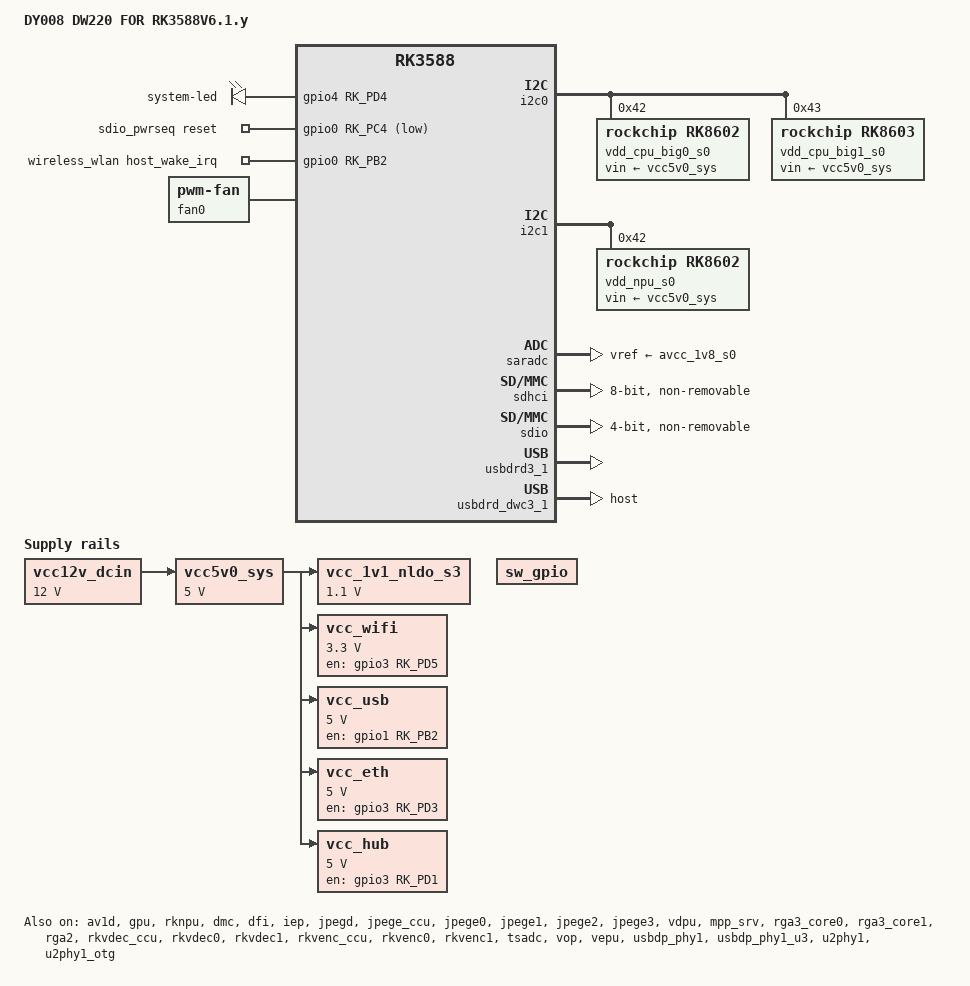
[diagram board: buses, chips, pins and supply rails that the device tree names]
// SPDX-License-Identifier: (GPL-2.0+ OR MIT)
/*
 * Copyright (c) 2021 Rockchip Electronics Co., Ltd.
 * Copyright (c) 2023 Thomas McKahan
 *
 */

/dts-v1/;

#include <dt-bindings/gpio/gpio.h>
#include <dt-bindings/leds/common.h>
#include <dt-bindings/pwm/pwm.h>
#include <dt-bindings/pinctrl/rockchip.h>
#include <dt-bindings/input/rk-input.h>
#include <dt-bindings/display/drm_mipi_dsi.h>
#include <dt-bindings/display/rockchip_vop.h>
#include <dt-bindings/sensor-dev.h>
#include <dt-bindings/usb/pd.h>
#include "rk3588.dtsi"
#include "rk3588s.dtsi"
#include "rk3588-rk806-single.dtsi"
#include "rk3588-android.dtsi"

/ {
	model = "DY008 DW220 FOR RK3588V6.1.y";
	compatible = "dy008,dw220", "rockchip,rk3588";

	aliases {
		mmc0 = &sdhci;
		mmc1 = &sdmmc;
	};

	leds {
		compatible = "gpio-leds";
		pinctrl-names = "default";

		sys_led: led-0 {
			// green led: gpios = <0xf9 0x1c 0x00>;
			gpios = <&gpio4 RK_PD4 GPIO_ACTIVE_HIGH>;
			label = "system-led";
			linux,default-trigger = "heartbeat";
			default-state = "on";
			pinctrl-0 = <&sys_led_pin>;
		};
	};

	vcc12v_dcin: vcc12v-dcin{
		compatible = "regulator-fixed";
		regulator-name = "vcc12v_dcin";
		regulator-always-on;
		regulator-boot-on;
		regulator-min-microvolt = <12000000>;
		regulator-max-microvolt = <12000000>;
	}; // ok

	/* vcc5v0_sys powers peripherals */
	vcc5v0_sys: vcc5v0-sys {
		compatible = "regulator-fixed";
		regulator-name = "vcc5v0_sys";
		regulator-always-on;
		regulator-boot-on;
		regulator-min-microvolt = <5000000>;
		regulator-max-microvolt = <5000000>;
		vin-supply = <&vcc12v_dcin>;
	}; // ok

	vcc_1v1_nldo_s3: vcc-1v1-nldo-s3 {
		compatible = "regulator-fixed";
		regulator-name = "vcc-1v1-nldo-s3";
		regulator-always-on;
		regulator-boot-on;
		regulator-min-microvolt = <1100000>;
		regulator-max-microvolt = <1100000>;
		vin-supply = <&vcc5v0_sys>;
	};	// ok

	sw_gpio: sw-gpio {
		compatible = "regulator-fixed";
		//pinctrl-names = "default";
		//pinctrl-0 = <&gpio_wol_en &gpio_pc_in_det &gpio_usb30_b_ocp_det &gpio_wifi_wake &gpio_6621_rst>;
		regulator-name = "vcc-phy";
		regulator-always-on;
	};//

    vcc_wifi: vcc-wifi {
		compatible = "regulator-fixed";
		regulator-name = "vcc_wifi";
		enable-active-high;
		regulator-always-on;
		regulator-boot-on;
		//gpios = <0x104 0x1d 0x00>;
        gpios = <&gpio3 RK_PD5 GPIO_ACTIVE_HIGH>;
		regulator-min-microvolt = <3300000>;
		regulator-max-microvolt = <3300000>;
		vin-supply = <&vcc5v0_sys>;
	};

    vcc_usb: vcc-usb {
		compatible = "regulator-fixed";
		regulator-name = "vcc_usb";
		enable-active-high;
		regulator-always-on;
		regulator-boot-on;
		//gpios = <0x1ab 0x0a 0x00>;
        gpios = <&gpio1 RK_PB2 GPIO_ACTIVE_HIGH>;
		regulator-min-microvolt = <5000000>;
		regulator-max-microvolt = <5000000>;
		pinctrl-names = "default";
		pinctrl-0 = <&vcc_usb_en>;
		vin-supply = <&vcc5v0_sys>;
	};

    vcc_eth: vcc-eth {
		compatible = "regulator-fixed";
		regulator-name = "vcc_eth";
		enable-active-high;
		regulator-always-on;
		regulator-boot-on;
		//gpios = <0x104 0x1b 0x00>;
        gpios = <&gpio3 RK_PD3 GPIO_ACTIVE_HIGH>;
		regulator-min-microvolt = <5000000>;
		regulator-max-microvolt = <5000000>;
		pinctrl-names = "default";
		pinctrl-0 = <&vcc_eth_en>;
		vin-supply = <&vcc5v0_sys>;
	};

	vcc_hub: vcc-hub {
		compatible = "regulator-fixed";
		regulator-name = "vcc_hub";
		enable-active-high;
		regulator-always-on;
		regulator-boot-on;
        gpios = <&gpio3 RK_PD1 GPIO_ACTIVE_HIGH>;
		regulator-min-microvolt = <5000000>;
		regulator-max-microvolt = <5000000>;
		vin-supply = <&vcc5v0_sys>;
	};

    sdio_pwrseq:sdio-pwrseq {
		compatible = "mmc-pwrseq-simple";
		pinctrl-names = "default";
		pinctrl-0 = <&wifi_en_gpio>;
		//reset-gpios = <0x148 0x14 0x01>;
        reset-gpios = <&gpio0 RK_PC4 GPIO_ACTIVE_LOW>;
	};

	wireless_bluetooth: wireless-bluetooth {
		compatible = "bluetooth-platdata";
		// uart_rts_gpios = <0xe5 0x14 0x01>;
		//uart_rts_gpios = <&gpio4 RK_PC4 GPIO_ACTIVE_LOW>;
		//pinctrl-names = "default", "rts_gpio";
		//pinctrl-0 = <&uart9m0_rtsn>, <&bt_reset_gpio>;
		//pinctrl-1 = <&uart9_gpios>;
		// BT,reset_gpio = <0x12f 0x08 0x01>;
		//BT,reset_gpio = <&gpio0 RK_PB0 GPIO_ACTIVE_LOW>;
		status = "disabled";
	};	// ok

	wireless_wlan: wireless-wlan {
		compatible = "wlan-platdata";
		wifi_chip_type = "ap6256p";
        pinctrl-names = "default";
		pinctrl-0 = <0x1c7>;
        //WIFI,host_wake_irq = <0x148 0x0a 0x00>;
        WIFI,host_wake_irq = <&gpio0 RK_PB2 GPIO_ACTIVE_HIGH>;
		status = "okay";
	};

	fan0: pwm-fan {
		compatible = "pwm-fan";
		#cooling-cells = <2>;
		cooling-levels = <72 94 117 139 162 184 207 229 255>;
		//pwms = <&pwm1 0 10000 0>;
	};
};

&av1d {
	status = "okay";
};

&av1d_mmu {
	status = "okay";
};

&cpu_l0 {
	cpu-supply = <&vdd_cpu_lit_s0>;
	mem-supply = <&vdd_cpu_lit_mem_s0>;
};

&cpu_b0 {
	cpu-supply = <&vdd_cpu_big0_s0>;
	mem-supply = <&vdd_cpu_big0_mem_s0>;
};

&cpu_b2 {
	cpu-supply = <&vdd_cpu_big1_s0>;
	mem-supply = <&vdd_cpu_big1_mem_s0>;
};

&gpu {
	mali-supply = <&vdd_gpu_s0>;
	mem-supply = <&vdd_gpu_mem_s0>;
	upthreshold = <60>;
	downdifferential = <30>;
	status = "okay";
};

&rknpu {
	rknpu-supply = <&vdd_npu_s0>;
	mem-supply = <&vdd_npu_mem_s0>;
	status = "okay";
};

&rknpu_mmu {
	status = "okay";
};

&i2c0 {
	status = "okay";
	pinctrl-names = "default";
	pinctrl-0 = <&i2c0m2_xfer>;

	vdd_cpu_big0_s0: vdd_cpu_big0_mem_s0: rk8602@42 {
		compatible = "rockchip,rk8602";
		reg = <0x42>;
		vin-supply = <&vcc5v0_sys>;
		regulator-compatible = "rk860x-reg";
		regulator-name = "vdd_cpu_big0_s0";
		regulator-min-microvolt = <550000>;
		regulator-max-microvolt = <1050000>;
		regulator-ramp-delay = <2300>;
		rockchip,suspend-voltage-selector = <1>;
		regulator-boot-on;
		regulator-always-on;
		regulator-state-mem {
			regulator-off-in-suspend;
		};
	};

	vdd_cpu_big1_s0: vdd_cpu_big1_mem_s0: rk8603@43 {
		compatible = "rockchip,rk8603";
		reg = <0x43>;
		vin-supply = <&vcc5v0_sys>;
		regulator-compatible = "rk860x-reg";
		regulator-name = "vdd_cpu_big1_s0";
		regulator-min-microvolt = <550000>;
		regulator-max-microvolt = <1050000>;
		regulator-ramp-delay = <2300>;
		rockchip,suspend-voltage-selector = <1>;
		regulator-boot-on;
		regulator-always-on;
		regulator-state-mem {
			regulator-off-in-suspend;
		};
	};
};	// ok

&dmc {
	center-supply = <&vdd_ddr_s0>;
	mem-supply = <&vdd_log_s0>;
	status = "okay";
};

&dfi {
	status = "okay";
};

&i2c1 {
	status = "okay";
	pinctrl-names = "default";
	pinctrl-0 = <&i2c1m2_xfer>;

	vdd_npu_s0: vdd_npu_mem_s0: rk8602@42 {
		compatible = "rockchip,rk8602";
		reg = <0x42>;
		vin-supply = <&vcc5v0_sys>;
		regulator-compatible = "rk860x-reg";
		regulator-name = "vdd_npu_s0";
		regulator-min-microvolt = <550000>;
		regulator-max-microvolt = <950000>;
		regulator-ramp-delay = <2300>;
		rockchip,suspend-voltage-selector = <1>;
		regulator-boot-on;
		regulator-always-on;
		regulator-state-mem {
			regulator-off-in-suspend;
		};
	};
};	// ok

&iep {
	status = "okay";
};

&iep_mmu {
	status = "okay";
};

&jpegd {
	status = "okay";
};

&jpegd_mmu {
	status = "okay";
};

&jpege_ccu {
	status = "okay";
};

&jpege0 {
	status = "okay";
};

&jpege0_mmu {
	status = "okay";
};

&jpege1 {
	status = "okay";
};

&jpege1_mmu {
	status = "okay";
};

&jpege2 {
	status = "okay";
};

&jpege2_mmu {
	status = "okay";
};

&jpege3 {
	status = "okay";
};

&jpege3_mmu {
	status = "okay";
};

&vdpu {
	status = "okay";
};

&vdpu_mmu {
	status = "okay";
};

&mpp_srv {
	status = "okay";
};

&rga3_core0 {
	status = "okay";
};

&rga3_0_mmu {
	status = "okay";
};

&rga3_core1 {
	status = "okay";
};

&rga3_1_mmu {
	status = "okay";
};

&rga2 {
	status = "okay";
};

&rkvdec_ccu {
	status = "okay";
};

&rkvdec0 {
	status = "okay";
};

&rkvdec0_mmu {
	status = "okay";
};

&rkvdec1 {
	status = "okay";
};

&rkvdec1_mmu {
	status = "okay";
};

&rkvenc_ccu {
	status = "okay";
};

&rkvenc0 {
	status = "okay";
};

&rkvenc0_mmu {
	status = "okay";
};

&rkvenc1 {
	status = "okay";
};

&rkvenc1_mmu {
	status = "okay";
};

&saradc {
	vref-supply = <&avcc_1v8_s0>;
	status = "okay";
};

&sdhci {
	bus-width = <8>;
	no-sdio;
	no-sd;
	non-removable;
	max-frequency = <200000000>;
	mmc-hs400-1_8v;
	mmc-hs400-enhanced-strobe;
	status = "okay";
};

&sdio {
	max-frequency = <150000000>;
	supports-sdio;
	bus-width = <4>;
	disable-wp;
	cap-sd-highspeed;
	cap-sdio-irq;
	keep-power-in-suspend;
	mmc-pwrseq = <&sdio_pwrseq>;
	non-removable;
	num-slots = <1>;
	pinctrl-names = "default";
	pinctrl-0 = <&sdiom0_pins>;
	sd-uhs-sdr104;
	status = "okay";
};

&soc_thermal {
	polling-delay = <1000>;
	polling-delay-passive = <2000>;
	trips {
		trip0: trip-point@0 {
			temperature = <45000>;
			hysteresis = <5000>;
			type = "active";
		};
		trip1: trip-point@1 {
			temperature = <50000>;
			hysteresis = <5000>;
			type = "active";
		};
		trip2: trip-point@2 {
			temperature = <55000>;
			hysteresis = <5000>;
			type = "active";
		};
		trip3: trip-point@3 {
			temperature = <60000>;
			hysteresis = <5000>;
			type = "active";
		};
		trip4: trip-point@4 {
			temperature = <65000>;
			hysteresis = <5000>;
			type = "active";
		};
		trip5: trip-point@5 {
			temperature = <70000>;
			hysteresis = <5000>;
			type = "active";
		};
		trip6: trip-point@6 {
			temperature = <75000>;
			hysteresis = <5000>;
			type = "active";
		};
		pcritical: trip-point@7 {
			temperature = <80000>;
			hysteresis = <1000>;
			type = "active";
		};
	};
	cooling-maps {
		map0 {
			trip = <&trip0>;
			cooling-device = <&fan0 0 1>;
			contribution = <1024>;
		};
		map1 {
			trip = <&trip1>;
			cooling-device = <&fan0 1 2>;
			contribution = <1024>;
		};
		map2 {
			trip = <&trip2>;
			cooling-device = <&fan0 2 3>;
			contribution = <1024>;
		};
		map3 {
			trip = <&trip3>;
			cooling-device = <&fan0 3 4>;
			contribution = <1024>;
		};
		map4 {
			trip = <&trip4>;
			cooling-device = <&fan0 4 5>;
			contribution = <1024>;
		};
		map5 {
			trip = <&trip5>;
			cooling-device = <&fan0 5 6>;
			contribution = <1024>;
		};
		map6 {
			trip = <&trip6>;
			cooling-device = <&fan0 6 7>;
			contribution = <1024>;
		};
		map7 {
			trip = <&pcritical>;
			cooling-device = <&fan0 7 8>;
			contribution = <1024>;
		};
	};
};

&tsadc {
	status = "okay";
};

&vop {
	vop-supply = <&vdd_log_s0>;
	support-multi-area;
	status = "okay";
};

&vop_mmu {
	status = "okay";
};

&vepu {
	status = "okay";
};

/* vp0 & vp1 splice for 8K output */
&vp0 {
    rockchip,plane-mask = <(1 << ROCKCHIP_VOP2_CLUSTER0 | 1 << ROCKCHIP_VOP2_ESMART0)>;
    rockchip,primary-plane = <ROCKCHIP_VOP2_ESMART0>;
};

&vp1 {
    rockchip,plane-mask = <(1 << ROCKCHIP_VOP2_CLUSTER1 | 1 << ROCKCHIP_VOP2_ESMART1)>;
    rockchip,primary-plane = <ROCKCHIP_VOP2_ESMART1>;
};

&vp2 {
    rockchip,plane-mask = <(1 << ROCKCHIP_VOP2_CLUSTER2 | 1 << ROCKCHIP_VOP2_ESMART2)>;
    rockchip,primary-plane = <ROCKCHIP_VOP2_ESMART2>;
};

&vp3 {
    rockchip,plane-mask = <(1 << ROCKCHIP_VOP2_CLUSTER3 | 1 << ROCKCHIP_VOP2_ESMART3)>;
    rockchip,primary-plane = <ROCKCHIP_VOP2_ESMART3>;
};


&rockchip_suspend {
	compatible = "rockchip,pm-rk3588";
	status = "okay";
	rockchip,sleep-debug-en = <1>;
	rockchip,sleep-mode-config = <
		(0
		| RKPM_SLP_ARMOFF_DDRPD
		)
	>;
	rockchip,wakeup-config = <
		(0
		| RKPM_GPIO_WKUP_EN
		| RKPM_USB_WKUP_EN
		)
	>;
};

&avdd_0v75_s0 {
	regulator-state-mem {
		regulator-on-in-suspend;
		regulator-suspend-microvolt = <837500>;
	};
};

&avcc_1v8_s0 {
	regulator-state-mem {
		regulator-on-in-suspend;
		regulator-suspend-microvolt = <1800000>;
	};
};

&vcc_1v8_s0 {
	regulator-state-mem {
		regulator-on-in-suspend;
		regulator-suspend-microvolt = <1800000>;
	};
};

&vcc_3v3_s0 {
	regulator-state-mem {
		regulator-on-in-suspend;
		regulator-suspend-microvolt = <3300000>;
	};
};

&vdd_log_s0 {
	regulator-state-mem {
		regulator-on-in-suspend;
		regulator-suspend-microvolt = <750000>;
	};
};

&vdd_ddr_pll_s0 {
	regulator-state-mem {
		regulator-on-in-suspend;
		regulator-suspend-microvolt = <850000>;
	};
};

// USB3.0 OTG1(DWC3/xHCI) TYPE-C0
//配置dr_mode = "peripheral" 通知DWC3驱动初始化为Device only mode
//配置"phys = <&u2phy0_otg>" 即不引用USBDP PHY
//配置maximum-speed = "high-speed" 通知DWC3驱动将USB限制为USB2.0 only
&usbdrd3_0{
	status = "disabled";
};

&usbdrd_dwc3_0 {	
	status = "disabled";
	dr_mode = "host";
	maximum-speed = "high-speed";
};

&u2phy0 {
    status = "disabled";
};

&u2phy0_otg {
	status = "disabled";
};

&usbdp_phy0 {
	status = "disabled";
	rockchip,dp-lane-mux = <0 1 2 3>;
};

&usbdp_phy0_u3 {
	maximum-speed = "high-speed";
	status = "disabled";
};

&usbdp_phy0_dp {
	status = "disabled";
};

// USB3.0 OTG1(DWC3/xHCI) TYPE-C1
&usbdrd3_1{
	status = "okay";
};
//如果配置dr_mode为otg，同时配置extcon = <&u2phy1>属性，才能支持软件切换Device/Host mode
&usbdrd_dwc3_1 {
	status = "okay";
	dr_mode = "host";
	maximum-speed = "high-speed";
};
// TYPE-C1 USB3.0/DP  Combo PHY1
&usbdp_phy1 {
	status = "okay";
	rockchip,dp-lane-mux = <0 1 2 3>;
};

&usbdp_phy1_u3 {
	maximum-speed = "high-speed";
	status = "okay";
};

&usbdp_phy1_dp {
	status = "disabled";
};

// TYPE-C1 USB2.0 PHY1
&u2phy1 {
    status = "okay";
};

&u2phy1_otg {
	status = "okay";
};

// #配置USB3.1 HOST2 Controller
&usbhost3_0 {
    status = "disabled";
};

&usbhost_dwc3_0 {
    dr_mode = "host";
    status = "disabled";
};


//使能USB3.1/SATA/PCIe Combo PHY
&combphy0_ps {
	status = "disabled";
};

&combphy1_ps {
	status = "disabled";	
};

// combUSB3.1
&combphy2_psu {
	status = "disabled";
};

// #USB2.0 HOST0/1 Controller
&usb_host0_ehci {
    status = "disabled";
};

&usb_host0_ohci {
    status = "disabled";
};

&usb_host1_ehci {
    status = "disabled";
};

&usb_host1_ohci {
    status = "disabled";
};
// #USB2.0 PHY2/3配置"phy-supply"属性，用于控制VBUS输出5V
&u2phy2 {
	status = "disabled";
};

&u2phy2_host {
	phy-supply = <&vcc_usb>;
	status = "disabled";
};

&u2phy3 {
   status = "disabled";
};

&u2phy3_host {
	phy-supply = <&vcc_eth>;
	status = "disabled";
};

&pinctrl {
	gpio-leds {
		sys_led_pin: sys-led-pin {
			rockchip,pins = <4 RK_PD4 RK_FUNC_GPIO &pcfg_pull_none>;
		};
	};

	wireless-wifi {
		wifi_en_gpio: wifi-en-gpio {
			//rockchip,pins = <0x00 0x14 0x00 0x188>;
			rockchip,pins = <0 RK_PC4 RK_FUNC_GPIO &pcfg_pull_none>;
		};
	};

	gpio-phy_power {		
			vcc_usb_en: vcc-usb-en {
				//gpios = <&gpio1 RK_PB2 GPIO_ACTIVE_HIGH>;
				rockchip,pins = <1 RK_PB2 RK_FUNC_GPIO &pcfg_pull_none>;
			};

			vcc_eth_en: vcc-eth-en {
				//gpios = <&gpio3 RK_PD3 GPIO_ACTIVE_HIGH>;
				rockchip,pins = <3 RK_PD3 RK_FUNC_GPIO &pcfg_pull_none>;
			};
	};
};

&gpio0 {
	gpio-line-names =
		/* GPIO0_A0-A3 */
		"", "", "", "",
		/* GPIO0_A4-A7 */
		"", "", "", "",

		/* GPIO0_B0-B3 */
		"", "", "", "",
		/* GPIO0_B4-B7 */
		"", "PIN_8", "PIN_10", "",

		/* GPIO0_C0-C3 */
		"", "", "", "",
		/* GPIO0_C4-C7 */
		"", "", "", "",

		/* GPIO0_D0-D3 */
		"", "", "", "",
		/* GPIO0_D4-D7 */
		"", "", "", "";
};

&gpio1 {
	gpio-line-names =
		/* GPIO1_A0-A3 */
		"", "", "", "",
		/* GPIO1_A4-A7 */
		"", "", "", "",

		/* GPIO1_B0-B3 */
		"", "PIN_21", "PIN_19", "PIN_23",
		/* GPIO1_B4-B7 */
		"PIN_24", "PIN_26", "", "PIN_31",

		/* GPIO1_C0-C3 */
		"", "", "", "",
		/* GPIO1_C4-C7 */
		"", "", "", "",

		/* GPIO1_D0-D3 */
		"", "", "", "",
		/* GPIO1_D4-D7 */
		"", "", "", "PIN_29";
};

&gpio2 {
	gpio-line-names =
		/* GPIO2_A0-A3 */
		"", "", "", "",
		/* GPIO2_A4-A7 */
		"", "", "", "",

		/* GPIO2_B0-B3 */
		"", "", "", "",
		/* GPIO2_B4-B7 */
		"", "", "", "",

		/* GPIO2_C0-C3 */
		"", "", "", "",
		/* GPIO2_C4-C7 */
		"", "", "", "",

		/* GPIO2_D0-D3 */
		"", "", "", "",
		/* GPIO2_D4-D7 */
		"", "", "", "";
};

&gpio3 {
	gpio-line-names =
		/* GPIO3_A0-A3 */
		"", "", "", "",
		/* GPIO3_A4-A7 */
		"PIN_16", "", "", "PIN_33",

		/* GPIO3_B0-B3 */
		"", "PIN_36", "PIN_38", "PIN_40",
		/* GPIO3_B4-B7 */
		"", "PIN_12", "PIN_35", "PIN_13",

		/* GPIO3_C0-C3 */
		"PIN_15", "PIN_11", "PIN_32", "PIN_7",
		/* GPIO3_C4-C7 */
		"", "", "", "",

		/* GPIO3_D0-D3 */
		"", "", "", "",
		/* GPIO3_D4-D7 */
		"", "", "", "";
};

&gpio4 {
	gpio-line-names =
		/* GPIO4_A0-A3 */
		"", "", "", "",
		/* GPIO4_A4-A7 */
		"", "", "", "",

		/* GPIO4_B0-B3 */
		"", "", "PIN_5", "PIN_3",
		/* GPIO4_B4-B7 */
		"", "", "", "",

		/* GPIO4_C0-C3 */
		"", "", "", "",
		/* GPIO4_C4-C7 */
		"PIN_18", "PIN_28", "PIN_27", "",

		/* GPIO4_D0-D3 */
		"", "", "", "",
		/* GPIO4_D4-D7 */
		"", "", "", "";
};
